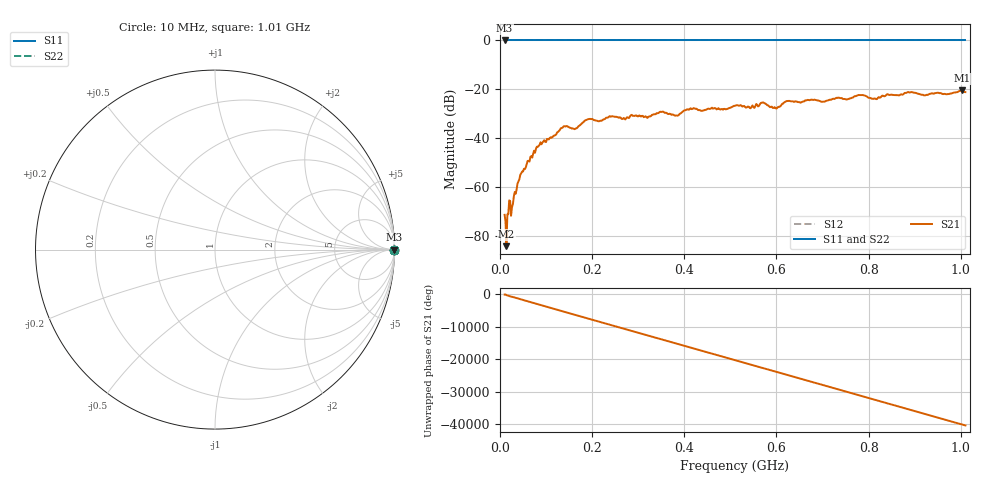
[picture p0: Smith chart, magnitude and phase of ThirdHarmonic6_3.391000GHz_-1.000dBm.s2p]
! 8/17/2025 10:48:28 AM
! C:\ANRITSUVNA\TEMP\TEMP.S2P
! CHANNEL.1
! TR.MEASUREMENT
! RAW.DATA
! RF.CORRECTION.OFF
! AVERAGING.OFF
! IF.BANDWIDTH: 5KHZ
! SWEEPTYPE:  FREQ.SWEEP(Linear)
! Reference Plane Port Info
! PORT:  PORT1  PORT2
! DISTANCE:  0  m  0  m
! TIME:  0  s  0  s
! PHASE.OFFSET:  0  deg.  0  deg.
! LOSS:  0  dB  0  dB
! REF.LOSS:  0  dB  0  dB
! REF.FREQ:  0  Hz  0  Hz
! Power Info
! POWER:  -20  dBm  -20  dBm
! EFF.POWER:  -20  dBm  -20  dBm
! SOURCE.ATTEN:  0  dB  0  dB
! TEST.ATTEN:  0  dB  0  dB
# GHZ S RI R 50.0
! FREQ.GHZ  S11RE  S11IM  S21RE  S21IM  S12RE  S12IM  S22RE  S22IM
!; PortSelection: Port_12
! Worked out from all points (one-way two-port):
!   501 points, 10 MHz to 1.01 GHz, reference 50 ohm
!   highest |S21| = -20.50 dB at 1.002 GHz (marker M1); lowest = -84.3 dB at 14 MHz (marker M2)
!   lowest |S11| = 0.0 dB at 10 MHz (marker M3)
!   |S11| at or under -10 dB: nowhere
!   |S22| runs from 0.0 to 0.0 dB; largest |S21 - S12| = 1.1
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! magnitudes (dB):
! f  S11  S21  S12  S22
! 10 MHz  0.0  -71.5  0.0  0.0
! 14 MHz  0.0  -84.3  0.0  0.0
! 20 MHz  0.0  -65.6  0.0  0.0
! 28 MHz  0.0  -67.1  0.0  0.0
! 44 MHz  0.0  -55.1  0.0  0.0
! 84 MHz  0.0  -43.3  0.0  0.0
! 136 MHz  0.0  -35.7  0.0  0.0
! 164 MHz  0.0  -36.1  0.0  0.0
! 178 MHz  0.0  -33.9  0.0  0.0
! 344 MHz  0.0  -29.8  0.0  0.0
! 384 MHz  0.0  -30.8  0.0  0.0
! 416 MHz  0.0  -28.1  0.0  0.0
! 510 MHz  0.0  -26.8  0.0  0.0
! 570 MHz  0.0  -25.4  0.0  0.0
! 598 MHz  0.0  -27.8  0.0  0.0
! 624 MHz  0.0  -24.8  0.0  0.0
! 678 MHz  0.0  -24.3  0.0  0.0
! 782 MHz  0.0  -22.4  0.0  0.0
! 814 MHz  0.0  -23.8  0.0  0.0
! 844 MHz  0.0  -22.3  0.0  0.0
! 1.002 GHz  0.0  -20.5  0.0  0.0
! 1.01 GHz  0.0  -21.2  0.0  0.0
